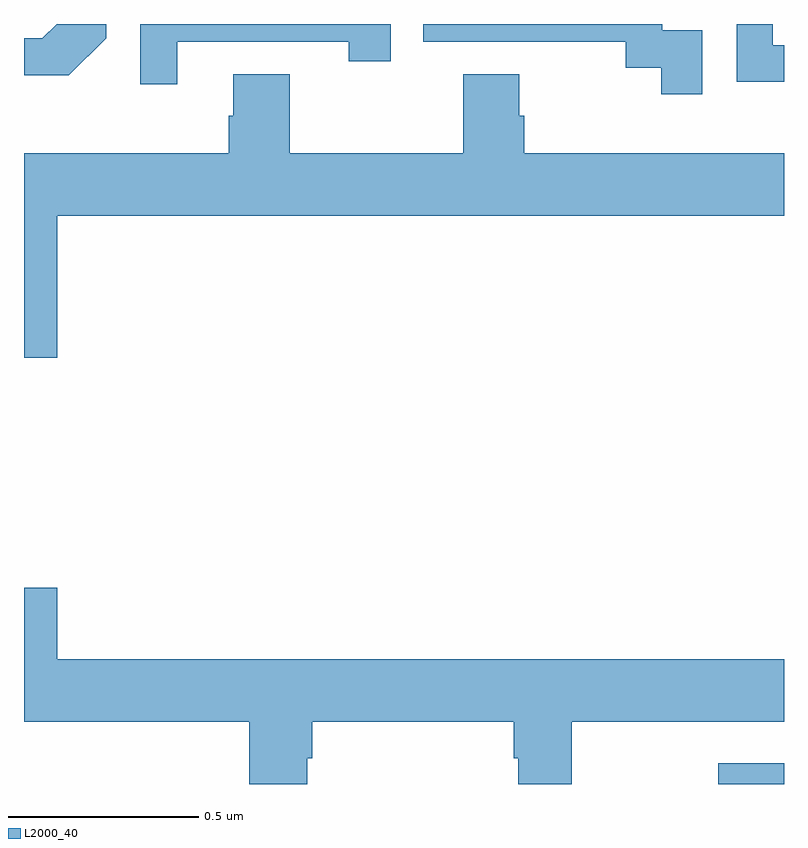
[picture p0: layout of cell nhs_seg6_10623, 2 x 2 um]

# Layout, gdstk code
import gdstk
lib = gdstk.Library(unit=1e-6, precision=1e-09)
def R(c, l, rs):  # rectangles x0, y0, x1, y1
    for r in rs: c.add(gdstk.rectangle(r[:2], r[2:], *l))
def P(c, l, *ps):  # polygons
    for p in ps: c.add(gdstk.Polygon(p, *l))
L2000_40 = (2000, 40)

nhs_seg6_10623 = lib.new_cell('nhs_seg6_10623')
R(nhs_seg6_10623, L2000_40, [(250.827,952.5,251,952.554)])
P(nhs_seg6_10623, L2000_40, [(249.403,954.453),(249.854,954.453),(249.854,954.402),(249.965,954.402),(249.965,954.5),(249.306,954.5),(249.306,954.342),(249.403,954.342)],
  [(249.216,954.462),(249.216,954.5),(249.086,954.5),(249.048,954.462),(249,954.462),(249,954.365),(249.118,954.365)],
  [(250.785,954.483),(250.68,954.483),(250.68,954.5),(250.05,954.5),(250.05,954.453),(250.584,954.453),(250.584,954.385),(250.677,954.385),(250.677,954.315),(250.785,954.315)],
  [(251,954.444),(250.971,954.444),(250.971,954.5),(250.875,954.5),(250.875,954.348),(251,954.348)],
  [(249.088,953.996),(251,953.996),(251,954.16),(250.316,954.16),(250.316,954.258),(250.303,954.258),(250.303,954.368),(250.156,954.368),(250.156,954.16),(249.699,954.16),(249.699,954.368),(249.551,954.368),(249.551,954.258),(249.539,954.258),(249.539,954.16),(249,954.16),(249,953.622),(249.088,953.622)],
  [(249.745,952.568),(249.758,952.568),(249.758,952.664),(250.289,952.664),(250.289,952.568),(250.301,952.568),(250.301,952.5),(250.441,952.5),(250.441,952.664),(251,952.664),(251,952.828),(249.088,952.828),(249.088,953.017),(249,953.017),(249,952.664),(249.593,952.664),(249.593,952.5),(249.745,952.5)])

lib.write_gds('nhs_seg6_10623.gds')
